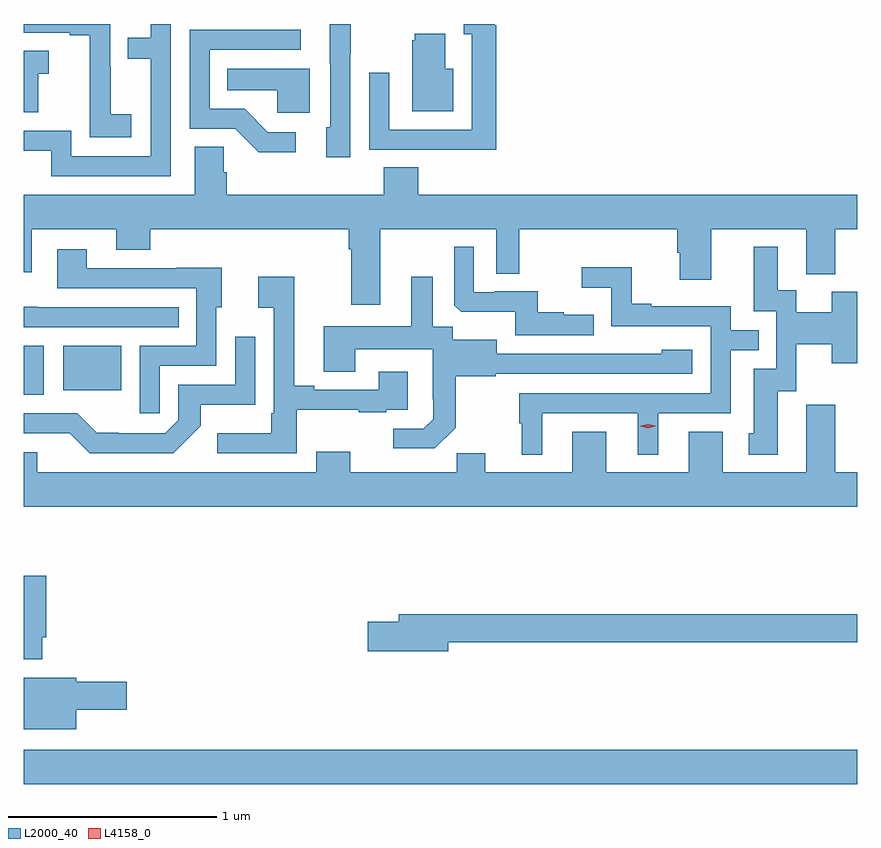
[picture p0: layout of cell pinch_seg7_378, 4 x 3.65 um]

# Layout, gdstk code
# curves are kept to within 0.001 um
import gdstk
lib = gdstk.Library(unit=1e-6, precision=1e-09)
def R(c, l, rs):  # rectangles x0, y0, x1, y1
    for r in rs: c.add(gdstk.rectangle(r[:2], r[2:], *l))
def P(c, l, *ps):  # polygons
    for p in ps: c.add(gdstk.Polygon(p, *l))
L2000_40 = (2000, 40)
L4158_0 = (4158, 0)

pinch_seg7_378 = lib.new_cell('pinch_seg7_378')
R(pinch_seg7_378, L2000_40, [(407.22,1011.272,411.22,1011.436), (407.22,1013.141,407.314,1013.377), (407.408,1013.162,407.686,1013.377)])
P(pinch_seg7_378, L2000_40, [(407.925,1014.921),(407.829,1014.921),(407.829,1014.855),(407.719,1014.855),(407.719,1014.754),(407.829,1014.754),(407.829,1014.285),(407.448,1014.285),(407.448,1014.408),(407.22,1014.408),(407.22,1014.312),(407.351,1014.312),(407.351,1014.189),(407.925,1014.189)],
  [(409.487,1014.914),(409.48,1014.914),(409.48,1014.921),(409.331,1014.921),(409.331,1014.871),(409.371,1014.871),(409.371,1014.414),(408.975,1014.414),(408.975,1014.688),(408.879,1014.688),(408.879,1014.318),(409.195,1014.318),(409.195,1014.317),(409.487,1014.317)],
  [(408.786,1014.775),(408.789,1014.775),(408.789,1014.921),(408.689,1014.921),(408.689,1014.73),(408.69,1014.73),(408.69,1014.426),(408.671,1014.426),(408.671,1014.282),(408.786,1014.282)],
  [(407.734,1014.487),(407.636,1014.487),(407.636,1014.716),(407.634,1014.716),(407.634,1014.921),(407.22,1014.921),(407.22,1014.879),(407.441,1014.879),(407.441,1014.867),(407.537,1014.867),(407.537,1014.583),(407.536,1014.583),(407.536,1014.377),(407.734,1014.377)],
  [(408.526,1014.402),(408.391,1014.402),(408.28,1014.513),(408.111,1014.513),(408.111,1014.798),(408.55,1014.798),(408.55,1014.894),(408.015,1014.894),(408.015,1014.417),(408.234,1014.417),(408.347,1014.305),(408.526,1014.305)],
  [(409.282,1014.706),(409.243,1014.706),(409.243,1014.874),(409.097,1014.874),(409.097,1014.843),(409.085,1014.843),(409.085,1014.503),(409.282,1014.503)],
  [(407.289,1014.683),(407.338,1014.683),(407.338,1014.793),(407.22,1014.793),(407.22,1014.498),(407.289,1014.498)],
  [(408.592,1014.706),(408.196,1014.706),(408.196,1014.602),(408.435,1014.602),(408.435,1014.494),(408.592,1014.494)],
  [(409.112,1014.233),(408.947,1014.233),(408.947,1014.1),(408.194,1014.1),(408.194,1014.209),(408.18,1014.209),(408.18,1014.332),(408.041,1014.332),(408.041,1014.1),(407.22,1014.1),(407.22,1013.73),(407.257,1013.73),(407.257,1013.936),(407.663,1013.936),(407.663,1013.837),(407.827,1013.837),(407.827,1013.936),(408.779,1013.936),(408.779,1013.84),(408.791,1013.84),(408.791,1013.574),(408.931,1013.574),(408.931,1013.936),(409.488,1013.936),(409.488,1013.722),(409.597,1013.722),(409.597,1013.936),(410.357,1013.936),(410.357,1013.823),(410.369,1013.823),(410.369,1013.694),(410.521,1013.694),(410.521,1013.936),(410.975,1013.936),(410.975,1013.72),(411.115,1013.72),(411.115,1013.936),(411.22,1013.936),(411.22,1014.1),(409.112,1014.1)],
  [(410.839,1013.157),(410.928,1013.157),(410.928,1013.384),(411.098,1013.384),(411.098,1013.291),(411.22,1013.291),(411.22,1013.635),(411.098,1013.635),(411.098,1013.536),(410.929,1013.536),(410.929,1013.642),(410.839,1013.642),(410.839,1013.851),(410.723,1013.851),(410.723,1013.541),(410.832,1013.541),(410.832,1013.265),(410.723,1013.265),(410.723,1012.956),(410.699,1012.956),(410.699,1012.854),(410.839,1012.854)],
  [(409.955,1013.524),(409.811,1013.524),(409.811,1013.536),(409.688,1013.536),(409.688,1013.637),(409.48,1013.637),(409.48,1013.634),(409.38,1013.634),(409.38,1013.851),(409.287,1013.851),(409.287,1013.571),(409.319,1013.54),(409.578,1013.54),(409.578,1013.427),(409.955,1013.427)],
  [(407.871,1013.28),(408.144,1013.28),(408.144,1013.562),(408.169,1013.562),(408.169,1013.75),(407.951,1013.75),(407.951,1013.748),(407.521,1013.748),(407.521,1013.839),(407.381,1013.839),(407.381,1013.652),(408.048,1013.652),(408.048,1013.376),(407.775,1013.376),(407.775,1013.052),(407.871,1013.052)],
  [(409.708,1013.052),(410.168,1013.052),(410.168,1012.853),(410.266,1012.853),(410.266,1013.052),(410.613,1013.052),(410.613,1013.355),(410.747,1013.355),(410.747,1013.451),(410.613,1013.451),(410.613,1013.565),(410.233,1013.565),(410.233,1013.578),(410.139,1013.578),(410.139,1013.753),(409.899,1013.753),(409.899,1013.654),(410.04,1013.654),(410.04,1013.469),(410.517,1013.469),(410.517,1013.148),(409.599,1013.148),(409.599,1013.004),(409.61,1013.004),(409.61,1012.853),(409.708,1012.853)],
  [(409.293,1012.983),(409.293,1013.229),(409.485,1013.229),(409.485,1013.241),(410.428,1013.241),(410.428,1013.356),(410.283,1013.356),(410.283,1013.338),(409.489,1013.337),(409.489,1013.404),(409.278,1013.404),(409.278,1013.468),(409.183,1013.468),(409.183,1013.707),(409.079,1013.707),(409.079,1013.47),(408.659,1013.47),(408.659,1013.251),(408.811,1013.251),(408.811,1013.36),(409.182,1013.36),(409.182,1013.119),(409.184,1013.119),(409.184,1013.024),(409.137,1012.977),(408.993,1012.977),(408.993,1012.883),(409.193,1012.883)],
  [(408.529,1013.069),(408.827,1013.069),(408.827,1013.058),(408.959,1013.058),(408.959,1013.07),(409.063,1013.07),(409.063,1013.251),(408.923,1013.251),(408.923,1013.166),(408.613,1013.166),(408.613,1013.185),(408.517,1013.185),(408.517,1013.707),(408.345,1013.707),(408.345,1013.558),(408.42,1013.558),(408.42,1013.053),(408.408,1013.053),(408.408,1012.957),(408.147,1012.957),(408.147,1012.86),(408.529,1012.86)],
  [(407.963,1013.562),(407.285,1013.562),(407.285,1013.563),(407.22,1013.563),(407.22,1013.466),(407.963,1013.466)],
  [(408.069,1012.991),(408.069,1013.093),(408.33,1013.093),(408.33,1013.419),(408.234,1013.419),(408.234,1013.19),(407.961,1013.19),(407.961,1013.019),(407.898,1012.956),(407.674,1012.956),(407.674,1012.958),(407.57,1012.958),(407.475,1013.052),(407.22,1013.052),(407.22,1012.955),(407.441,1012.955),(407.535,1012.86),(407.938,1012.86)],
  [(410.411,1012.963),(410.411,1012.768),(410.017,1012.768),(410.017,1012.963),(409.853,1012.963),(409.853,1012.768),(409.435,1012.768),(409.435,1012.859),(409.297,1012.859),(409.297,1012.768),(408.787,1012.768),(408.787,1012.867),(408.623,1012.867),(408.623,1012.768),(407.284,1012.768),(407.284,1012.866),(407.22,1012.866),(407.22,1012.604),(411.22,1012.604),(411.22,1012.768),(411.115,1012.768),(411.115,1013.092),(410.976,1013.092),(410.976,1012.979),(410.975,1012.979),(410.975,1012.768),(410.575,1012.768),(410.575,1012.963)],
  [(407.307,1011.976),(407.327,1011.976),(407.327,1012.273),(407.22,1012.273),(407.22,1011.872),(407.307,1011.872)],
  [(409.258,1011.952),(411.22,1011.952),(411.22,1012.088),(409.019,1012.088),(409.019,1012.052),(408.87,1012.052),(408.87,1011.91),(409.258,1011.91)],
  [(407.47,1011.629),(407.713,1011.629),(407.713,1011.764),(407.47,1011.764),(407.47,1011.781),(407.22,1011.781),(407.22,1011.536),(407.47,1011.536)])
P(pinch_seg7_378, L4158_0, [(410.217,1012.98),(410.182,1012.99),(410.181,1012.99),(410.182,1012.991),(410.217,1013),(410.252,1012.991),(410.252,1012.99),(410.252,1012.99)])

lib.write_gds('pinch_seg7_378.gds')
